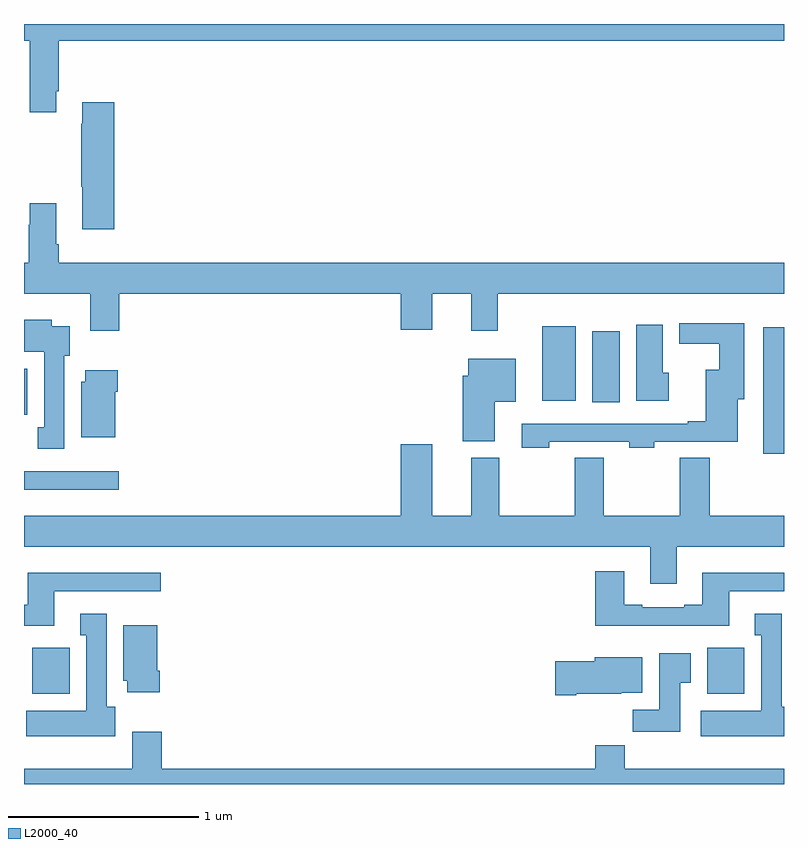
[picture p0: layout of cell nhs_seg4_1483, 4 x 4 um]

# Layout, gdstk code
import gdstk
lib = gdstk.Library(unit=1e-6, precision=1e-09)
def R(c, l, rs):  # rectangles x0, y0, x1, y1
    for r in rs: c.add(gdstk.rectangle(r[:2], r[2:], *l))
def P(c, l, *ps):  # polygons
    for p in ps: c.add(gdstk.Polygon(p, *l))
L2000_40 = (2000, 40)

nhs_seg4_1483 = lib.new_cell('nhs_seg4_1483')
R(nhs_seg4_1483, L2000_40, [(187.043,801.374,187.24,801.616), (190.595,801.374,190.792,801.616), (187,802.448,187.498,802.545), (190.892,802.638,191,803.305), (187,802.844,187.018,803.086), (189.992,802.908,190.135,803.284), (189.728,802.916,189.904,803.308)])
P(nhs_seg4_1483, L2000_40, [(187.171,804.547),(187.184,804.547),(187.184,804.812),(191,804.812),(191,804.9),(187,804.9),(187,804.812),(187.031,804.812),(187.031,804.435),(187.171,804.435)],
  [(187.475,804.487),(187.307,804.487),(187.307,804.374),(187.3,804.374),(187.3,804.043),(187.307,804.043),(187.307,803.82),(187.475,803.82)],
  [(187.502,803.48),(188.984,803.48),(188.984,803.292),(189.148,803.292),(189.148,803.48),(189.353,803.48),(189.353,803.286),(189.493,803.286),(189.493,803.48),(191,803.48),(191,803.644),(187.184,803.644),(187.184,803.74),(187.171,803.74),(187.171,803.956),(187.031,803.956),(187.031,803.843),(187.024,803.843),(187.024,803.644),(187,803.644),(187,803.48),(187.349,803.48),(187.349,803.286),(187.502,803.286)],
  [(187.213,803.154),(187.24,803.154),(187.24,803.308),(187.147,803.308),(187.147,803.344),(187,803.344),(187,803.174),(187.106,803.174),(187.106,802.778),(187.073,802.778),(187.073,802.665),(187.213,802.665)],
  [(189.765,802.701),(190.185,802.701),(190.185,802.669),(190.317,802.669),(190.317,802.701),(190.756,802.701),(190.756,802.925),(190.792,802.925),(190.792,803.326),(190.449,803.326),(190.449,803.217),(190.658,803.217),(190.658,803.08),(190.589,803.08),(190.589,802.81),(190.493,802.81),(190.493,802.797),(189.621,802.797),(189.621,802.669),(189.765,802.669)],
  [(190.393,803.064),(190.363,803.064),(190.363,803.317),(190.223,803.317),(190.223,802.916),(190.393,802.916)],
  [(189.478,802.913),(189.589,802.913),(189.589,803.137),(189.338,803.137),(189.338,803.049),(189.308,803.049),(189.308,802.703),(189.478,802.703)],
  [(187.48,802.964),(187.493,802.964),(187.493,803.077),(187.322,803.077),(187.322,803.016),(187.301,803.016),(187.301,802.724),(187.48,802.724)],
  [(190.435,802.148),(191,802.148),(191,802.312),(190.61,802.312),(190.61,802.616),(190.45,802.616),(190.45,802.312),(190.052,802.312),(190.052,802.616),(189.898,802.616),(189.898,802.312),(189.501,802.312),(189.501,802.618),(189.353,802.618),(189.353,802.312),(189.148,802.312),(189.148,802.687),(188.984,802.687),(188.984,802.312),(187,802.312),(187,802.148),(190.295,802.148),(190.295,801.954),(190.435,801.954)],
  [(190.711,801.915),(191,801.915),(191,802.012),(190.571,802.012),(190.571,801.844),(190.475,801.844),(190.475,801.831),(190.255,801.831),(190.255,801.844),(190.159,801.844),(190.159,802.021),(190.007,802.021),(190.007,801.734),(190.711,801.734)],
  [(187.159,801.915),(187.72,801.915),(187.72,802.012),(187.019,802.012),(187.019,801.844),(187,801.844),(187,801.734),(187.159,801.734)],
  [(191,801.306),(190.987,801.306),(190.987,801.796),(190.847,801.796),(190.847,801.683),(190.88,801.683),(190.88,801.286),(190.563,801.286),(190.563,801.152),(191,801.152)],
  [(187.48,801.306),(187.435,801.306),(187.435,801.796),(187.295,801.796),(187.295,801.683),(187.328,801.683),(187.328,801.286),(187.011,801.286),(187.011,801.152),(187.48,801.152)],
  [(187.715,801.496),(187.702,801.496),(187.702,801.736),(187.523,801.736),(187.523,801.444),(187.544,801.444),(187.544,801.384),(187.715,801.384)],
  [(190.453,801.433),(190.51,801.433),(190.51,801.589),(190.343,801.589),(190.343,801.292),(190.204,801.292),(190.204,801.174),(190.453,801.174)],
  [(189.907,801.374),(190.143,801.374),(190.143,801.38),(190.255,801.38),(190.255,801.568),(190.004,801.568),(190.004,801.545),(189.795,801.545),(189.795,801.367),(189.907,801.367)],
  [(191,800.98),(190.163,800.98),(190.163,801.104),(190.007,801.104),(190.007,800.98),(187.724,800.98),(187.724,801.175),(187.571,801.175),(187.571,800.98),(187,800.98),(187,800.9),(191,800.9)])

lib.write_gds('nhs_seg4_1483.gds')
